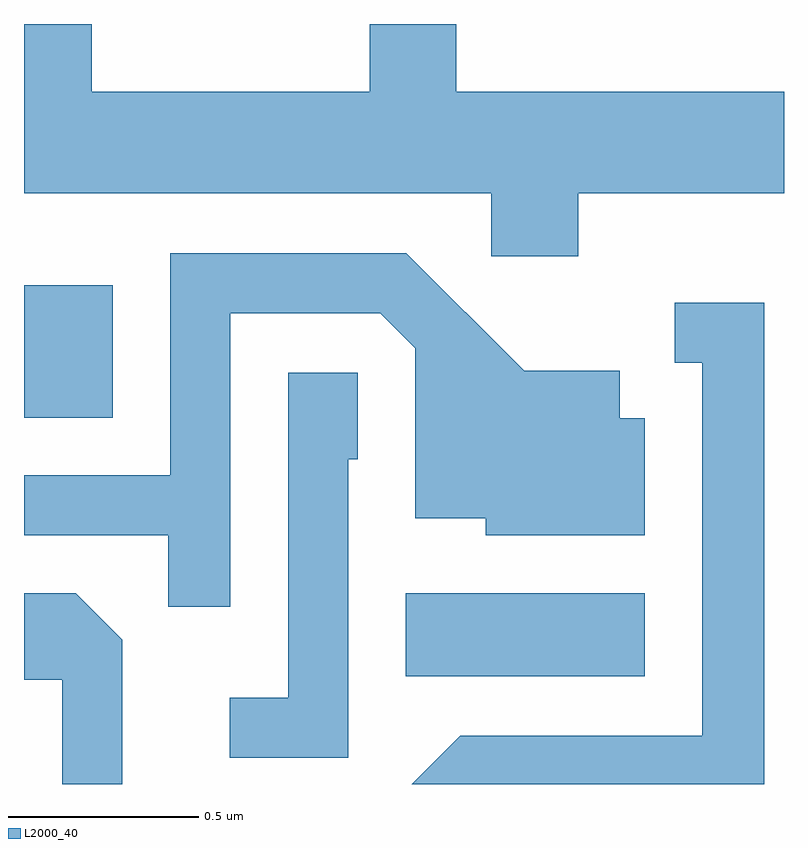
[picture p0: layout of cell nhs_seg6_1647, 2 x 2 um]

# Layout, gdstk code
import gdstk
lib = gdstk.Library(unit=1e-6, precision=1e-09)
def R(c, l, rs):  # rectangles x0, y0, x1, y1
    for r in rs: c.add(gdstk.rectangle(r[:2], r[2:], *l))
def P(c, l, *ps):  # polygons
    for p in ps: c.add(gdstk.Polygon(p, *l))
L2000_40 = (2000, 40)

nhs_seg6_1647 = lib.new_cell('nhs_seg6_1647')
R(nhs_seg6_1647, L2000_40, [(198.616,1535.446,199.244,1535.664), (197.611,1536.126,197.844,1536.474)])
P(nhs_seg6_1647, L2000_40, [(199.069,1536.716),(199.611,1536.716),(199.611,1536.984),(198.749,1536.984),(198.749,1537.162),(198.521,1537.162),(198.521,1536.984),(197.789,1536.984),(197.789,1537.162),(197.611,1537.162),(197.611,1536.716),(198.841,1536.716),(198.841,1536.551),(199.069,1536.551)],
  [(198.154,1536.401),(198.549,1536.401),(198.641,1536.309),(198.641,1535.861),(198.826,1535.861),(198.826,1535.816),(199.244,1535.816),(199.244,1536.124),(199.179,1536.124),(199.179,1536.249),(198.927,1536.249),(198.617,1536.559),(197.996,1536.559),(197.996,1535.974),(197.611,1535.974),(197.611,1535.816),(197.991,1535.816),(197.991,1535.628),(198.154,1535.628)],
  [(199.559,1536.429),(199.323,1536.429),(199.323,1536.271),(199.396,1536.271),(199.396,1535.289),(198.759,1535.289),(198.632,1535.162),(199.559,1535.162)],
  [(198.464,1536.016),(198.489,1536.016),(198.489,1536.244),(198.306,1536.244),(198.306,1535.389),(198.153,1535.389),(198.153,1535.231),(198.464,1535.231)],
  [(197.869,1535.542),(197.747,1535.664),(197.611,1535.664),(197.611,1535.436),(197.711,1535.436),(197.711,1535.162),(197.869,1535.162)])

lib.write_gds('nhs_seg6_1647.gds')
